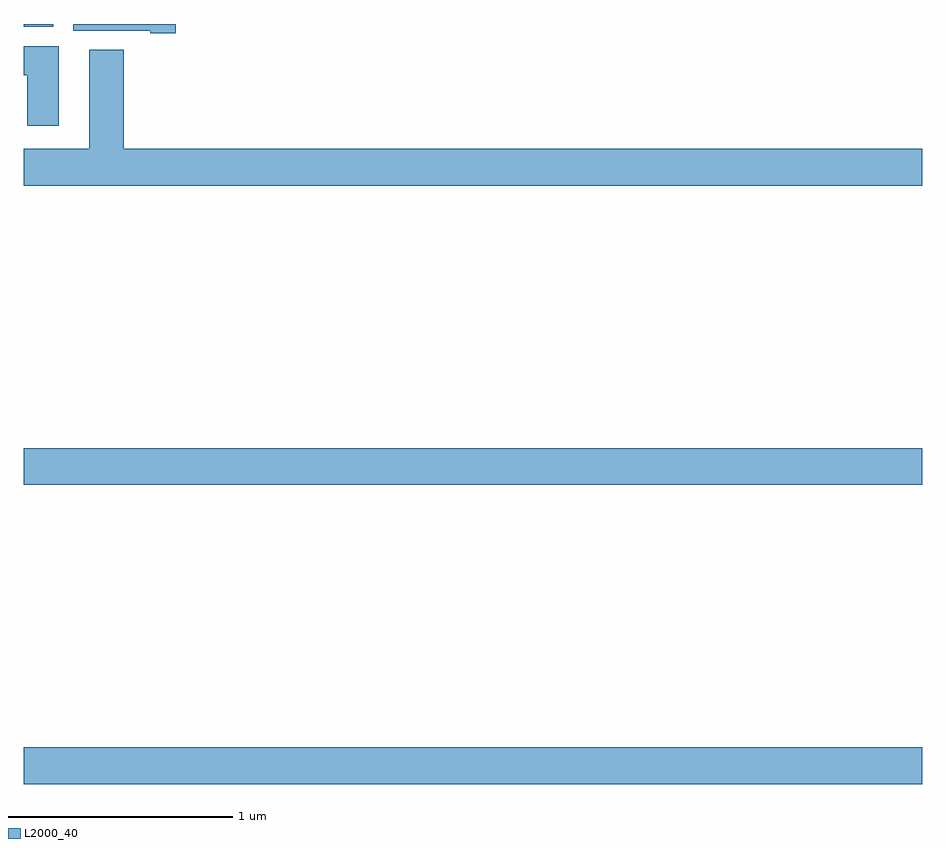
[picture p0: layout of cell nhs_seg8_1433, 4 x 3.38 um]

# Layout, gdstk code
import gdstk
lib = gdstk.Library(unit=1e-6, precision=1e-09)
def R(c, l, rs):  # rectangles x0, y0, x1, y1
    for r in rs: c.add(gdstk.rectangle(r[:2], r[2:], *l))
def P(c, l, *ps):  # polygons
    for p in ps: c.add(gdstk.Polygon(p, *l))
L2000_40 = (2000, 40)

nhs_seg8_1433 = lib.new_cell('nhs_seg8_1433')
R(nhs_seg8_1433, L2000_40, [(203,1100.516,207,1100.68), (203,1101.848,207,1102.012), (203,1103.888,203.131,1103.9)])
P(nhs_seg8_1433, L2000_40, [(203.677,1103.9),(203.219,1103.9),(203.219,1103.87),(203.564,1103.87),(203.564,1103.858),(203.677,1103.858)],
  [(203.155,1103.8),(203,1103.8),(203,1103.672),(203.015,1103.672),(203.015,1103.448),(203.155,1103.448)],
  [(207,1103.344),(203.444,1103.344),(203.444,1103.785),(203.291,1103.785),(203.291,1103.344),(203,1103.344),(203,1103.18),(207,1103.18)])

lib.write_gds('nhs_seg8_1433.gds')
